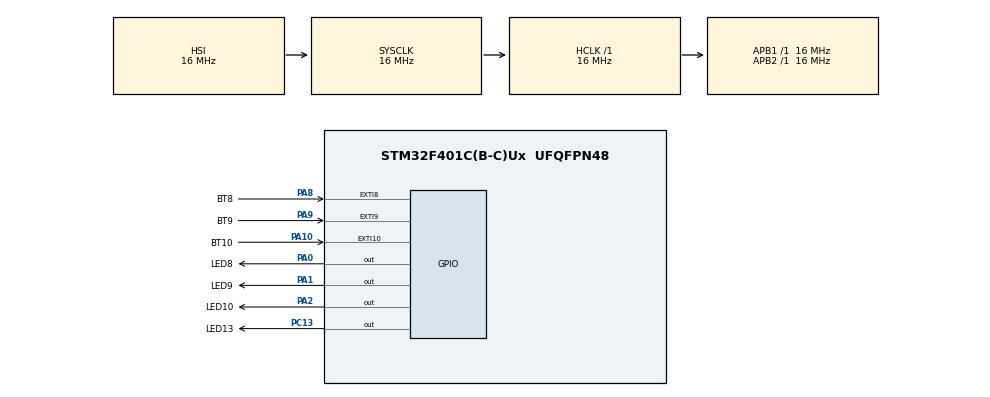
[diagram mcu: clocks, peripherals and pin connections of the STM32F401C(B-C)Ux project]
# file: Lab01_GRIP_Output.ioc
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Mcu.Family=STM32F4
Mcu.Name=STM32F401C(B-C)Ux
Mcu.Package=UFQFPN48
NVIC.EXTI15_10_IRQn=true\:5\:0\:true\:true\:true\:2\:true\:true\:true
NVIC.EXTI9_5_IRQn=true\:10\:0\:true\:true\:true\:1\:true\:true\:true
NVIC.PriorityGroup=NVIC_PRIORITYGROUP_4
PA0-WKUP.GPIO_Label=LED8
PA0-WKUP.Signal=GPIO_Output
PA1.GPIO_Label=LED9
PA1.Signal=GPIO_Output
PA10.GPIO_Label=BT10
PA10.Signal=GPXTI10
PA13.Mode=Serial_Wire
PA13.Signal=SYS_JTMS-SWDIO
PA14.Mode=Serial_Wire
PA14.Signal=SYS_JTCK-SWCLK
PA2.GPIO_Label=LED10
PA2.Signal=GPIO_Output
PA8.GPIO_Label=BT8
PA8.Signal=GPXTI8
PA9.GPIO_Label=BT9
PA9.Signal=GPXTI9
PC13-ANTI_TAMP.GPIO_Label=LED13
PC13-ANTI_TAMP.Signal=GPIO_Output
ProjectManager.HeapSize=0x200
ProjectManager.StackSize=0x400
ProjectManager.TargetToolchain=STM32CubeIDE
RCC.AHBFreq_Value=16000000
RCC.APB1Freq_Value=16000000
RCC.APB2Freq_Value=16000000
RCC.CortexFreq_Value=16000000
RCC.HSE_VALUE=25000000
RCC.HSI_VALUE=16000000
RCC.LSE_VALUE=32768
RCC.SYSCLKFreq_VALUE=16000000
RCC.VCOOutputFreq_Value=192000000
board=custom

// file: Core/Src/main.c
/* USER CODE BEGIN Header */
/**
  ******************************************************************************
  * @file           : main.c
  * @brief          : Main program body
  ******************************************************************************
  * @attention
  *
  * Copyright (c) 2023 STMicroelectronics.
  * All rights reserved.
  *
  * This software is licensed under terms that can be found in the LICENSE file
  * in the root directory of this software component.
  * If no LICENSE file comes with this software, it is provided AS-IS.
  *
  ******************************************************************************
  */
/* USER CODE END Header */
#include "main.h"
#include <stdio.h>
#include <time.h>

void SystemClock_Config(void);
static void MX_GPIO_Init(void);
static void MX_NVIC_Init(void);
/* USER CODE BEGIN PFP */
void WaitForСallback(void);
/* USER CODE END PFP */

int main(void)
{

  /* MCU Configuration--------------------------------------------------------*/

  /* Reset of all peripherals, Initializes the Flash interface and the Systick. */
  HAL_Init();

  /* Configure the system clock */
  SystemClock_Config();

  /* Initialize all configured peripherals */
  MX_GPIO_Init();

  /* Initialize interrupts */
  MX_NVIC_Init();

  /* Infinite loop */
  /* USER CODE BEGIN WHILE */
  const int player1_button = BT10_GPIO_Port; // Пін для кнопки гравця 1
  	  const int player1_buttonPin = BT10_Pin;
  	  const int player1_led_port = LED10_GPIO_Port; // Пін для світлодіода гравця
  	  const int player1_led_pin = LED10_Pin; // Пін для світлодіода гравця1

  	  const int player2_button = BT8_GPIO_Port; // Пін для кнопки гравця 2
  	  	  const int player2_buttonPin = BT8_Pin;
  	  	  const int player2_led_port = LED8_GPIO_Port; // Пін для світлодіода гравця
  	  	  const int player2_led_pin = LED8_Pin; // Пін для світлодіода гравця1

  	  	 unsigned long player1_time = 0;
  	  	  unsigned long player2_time = 0;

  	  	int position=0;
  while (1)
  {
    /* USER CODE END WHILE */
	  HAL_GPIO_TogglePin(LED13_GPIO_Port, LED13_Pin);
	  HAL_Delay(200);

	  ////////////////////////////////////////////////////////////////////////////////////////

//      ОБРОБКА КНОПКИ ГРАВЦЯ 1

	  		  if(HAL_GPIO_ReadPin(player1_button, player1_buttonPin) == GPIO_PIN_SET){ // зчитали натискання
	  		  		 position++;
	  		  		 player1_time = position;
	  		  		  HAL_GPIO_WritePin(LED10_GPIO_Port, LED10_Pin, GPIO_PIN_SET); // загорілось
	  		  		  HAL_Delay(300);
	  		  		 HAL_GPIO_WritePin(LED10_GPIO_Port, LED10_Pin, GPIO_PIN_RESET); // потухло
	  		  	  } else{
	  		  		  HAL_GPIO_WritePin(LED10_GPIO_Port, LED10_Pin, GPIO_PIN_RESET); // потухло
	  		  	  }
	  		  	  HAL_Delay(10);

	  		  	//      ОБРОБКА КНОПКИ ГРАВЦЯ 2

	  		  	  if(HAL_GPIO_ReadPin(player2_button, player2_buttonPin) == GPIO_PIN_SET){ // зчитали натискання
	  		  		position++;
	  		  		player2_time=position;
	  		  	  	HAL_GPIO_WritePin(LED8_GPIO_Port, LED8_Pin, GPIO_PIN_SET); // загорілось
	  		  	    HAL_Delay(300);
	  		  		HAL_GPIO_WritePin(LED8_GPIO_Port, LED8_Pin, GPIO_PIN_RESET); // потухло
	  		  	  	  } else{
	  		  	  		 HAL_GPIO_WritePin(LED8_GPIO_Port, LED8_Pin, GPIO_PIN_RESET); // потухло
	  		  	  	  }

	  		  	  HAL_Delay(10);

// ЯКШО ОБИДВА ГРАВЦІ НАТИСНУЛИ КНОПКИ

	  		  	  if(player1_time !=0 && player2_time != 0){
	  		  		//HAL_GPIO_TogglePin(LED9_GPIO_Port, LED9_Pin);
	  		  		//HAL_GPIO_WritePin(LED9_GPIO_Port, LED9_Pin, GPIO_PIN_SET); // загорілось
	  		  		//HAL_Delay(200);
	  		  		//HAL_GPIO_WritePin(LED9_GPIO_Port, LED9_Pin, GPIO_PIN_RESET); // загорілось

	  		  		//HAL_Delay(1000);

	  		  		if (player1_time < player2_time){ //   якшо гравець 1 виграв
	  		  			HAL_GPIO_WritePin(LED10_GPIO_Port, LED10_Pin, GPIO_PIN_SET); // загорілось
	  		  			HAL_Delay(5000);
	  		  			HAL_GPIO_WritePin(LED10_GPIO_Port, LED10_Pin, GPIO_PIN_RESET); // загорілось
	  		  		} else{//   якшо гравець 2 виграв
	  		  			HAL_GPIO_WritePin(LED8_GPIO_Port, LED8_Pin, GPIO_PIN_SET); // загорілось
	  		  			HAL_Delay(5000);
	  		  			HAL_GPIO_WritePin(LED8_GPIO_Port, LED8_Pin, GPIO_PIN_RESET); // потухла
	  		  		}

	  		  			player1_time=0;
	  		  			player2_time=0;
	  		  			position=0;

	  	  }
	  		  		  /*
	  		  		   if (player1_time < player2_time){ //   якшо гравець 1 виграв
	  		  			  HAL_GPIO_WritePin(LED10_GPIO_Port, LED10_Pin, GPIO_PIN_SET); // загорілось
	  		  			  HAL_Delay(5000);
	  		  			  HAL_GPIO_WritePin(LED10_GPIO_Port, LED10_Pin, GPIO_PIN_RESET); // загорілось
	  		  		  } else{//   якшо гравець 2 виграв
	  		  			  HAL_GPIO_WritePin(LED8_GPIO_Port, LED8_Pin, GPIO_PIN_SET); // загорілось
	  		  			  HAL_Delay(5000);
	  		  			  HAL_GPIO_WritePin(LED8_GPIO_Port, LED8_Pin, GPIO_PIN_RESET); // потухла
	  		  	  }
	  		  		   */

  }
}

void SystemClock_Config(void)
{
  RCC_OscInitTypeDef RCC_OscInitStruct = {0};
  RCC_ClkInitTypeDef RCC_ClkInitStruct = {0};

  /** Configure the main internal regulator output voltage
  */
  __HAL_RCC_PWR_CLK_ENABLE();
  __HAL_PWR_VOLTAGESCALING_CONFIG(PWR_REGULATOR_VOLTAGE_SCALE2);

  /** Initializes the RCC Oscillators according to the specified parameters
  * in the RCC_OscInitTypeDef structure.
  */
  RCC_OscInitStruct.OscillatorType = RCC_OSCILLATORTYPE_HSI;
  RCC_OscInitStruct.HSIState = RCC_HSI_ON;
  RCC_OscInitStruct.HSICalibrationValue = RCC_HSICALIBRATION_DEFAULT;
  RCC_OscInitStruct.PLL.PLLState = RCC_PLL_NONE;
  if (HAL_RCC_OscConfig(&RCC_OscInitStruct) != HAL_OK)
  {
    Error_Handler();
  }

  /** Initializes the CPU, AHB and APB buses clocks
  */
  RCC_ClkInitStruct.ClockType = RCC_CLOCKTYPE_HCLK|RCC_CLOCKTYPE_SYSCLK
                              |RCC_CLOCKTYPE_PCLK1|RCC_CLOCKTYPE_PCLK2;
  RCC_ClkInitStruct.SYSCLKSource = RCC_SYSCLKSOURCE_HSI;
  RCC_ClkInitStruct.AHBCLKDivider = RCC_SYSCLK_DIV1;
  RCC_ClkInitStruct.APB1CLKDivider = RCC_HCLK_DIV1;
  RCC_ClkInitStruct.APB2CLKDivider = RCC_HCLK_DIV1;

  if (HAL_RCC_ClockConfig(&RCC_ClkInitStruct, FLASH_LATENCY_0) != HAL_OK)
  {
    Error_Handler();
  }
}

/**
  * @brief NVIC Configuration.
  * @retval None
  */
static void MX_NVIC_Init(void)
{
  /* EXTI9_5_IRQn interrupt configuration */
  HAL_NVIC_SetPriority(EXTI9_5_IRQn, 10, 0);
  HAL_NVIC_EnableIRQ(EXTI9_5_IRQn);
  /* EXTI15_10_IRQn interrupt configuration */
  HAL_NVIC_SetPriority(EXTI15_10_IRQn, 5, 0);
  HAL_NVIC_EnableIRQ(EXTI15_10_IRQn);
}

static void MX_GPIO_Init(void)
{
  GPIO_InitTypeDef GPIO_InitStruct = {0};

  /* GPIO Ports Clock Enable */
  __HAL_RCC_GPIOC_CLK_ENABLE();
  __HAL_RCC_GPIOA_CLK_ENABLE();

  /*Configure GPIO pin Output Level */
  HAL_GPIO_WritePin(LED13_GPIO_Port, LED13_Pin, GPIO_PIN_RESET);

  /*Configure GPIO pin Output Level */
  HAL_GPIO_WritePin(GPIOA, LED8_Pin|LED9_Pin|LED10_Pin, GPIO_PIN_RESET);

  /*Configure GPIO pin : LED13_Pin */
  GPIO_InitStruct.Pin = LED13_Pin;
  GPIO_InitStruct.Mode = GPIO_MODE_OUTPUT_PP;
  GPIO_InitStruct.Pull = GPIO_NOPULL;
  GPIO_InitStruct.Speed = GPIO_SPEED_FREQ_LOW;
  HAL_GPIO_Init(LED13_GPIO_Port, &GPIO_InitStruct);

  /*Configure GPIO pins : LED8_Pin LED9_Pin LED10_Pin */
  GPIO_InitStruct.Pin = LED8_Pin|LED9_Pin|LED10_Pin;
  GPIO_InitStruct.Mode = GPIO_MODE_OUTPUT_PP;
  GPIO_InitStruct.Pull = GPIO_NOPULL;
  GPIO_InitStruct.Speed = GPIO_SPEED_FREQ_LOW;
  HAL_GPIO_Init(GPIOA, &GPIO_InitStruct);

  /*Configure GPIO pins : BT8_Pin BT9_Pin BT10_Pin */
  GPIO_InitStruct.Pin = BT8_Pin|BT9_Pin|BT10_Pin;
  GPIO_InitStruct.Mode = GPIO_MODE_IT_RISING;
  GPIO_InitStruct.Pull = GPIO_NOPULL;
  HAL_GPIO_Init(GPIOA, &GPIO_InitStruct);

}

/* USER CODE BEGIN 4 */
void HAL_GPIO_EXIT_Callback(uint16_t GPIO_Pin)
{
	if (GPIO_Pin == BT8_Pin){
		HAL_GPIO_WritePin(LED8_GPIO_Port, LED8_Pin, GPIO_PIN_SET);
		WaitForCallback();
		HAL_GPIO_WritePin(LED8_GPIO_Port, LED8_Pin, GPIO_PIN_RESET);
		return;
	}

	if (GPIO_Pin == BT9_Pin){
			HAL_GPIO_WritePin(LED9_GPIO_Port, LED9_Pin, GPIO_PIN_SET);
			WaitForСallback();
			HAL_GPIO_WritePin(LED9_GPIO_Port, LED9_Pin, GPIO_PIN_RESET);
			return;
		}

	if (GPIO_Pin == BT10_Pin){
			HAL_GPIO_WritePin(LED10_GPIO_Port, LED10_Pin, GPIO_PIN_SET);
			WaitForСallback();
			HAL_GPIO_WritePin(LED10_GPIO_Port, LED10_Pin, GPIO_PIN_RESET);
			return;
		}
}

/* USER CODE END 4 */

void Error_Handler(void)
{
  __disable_irq();
  while (1)
  {
  }
}
